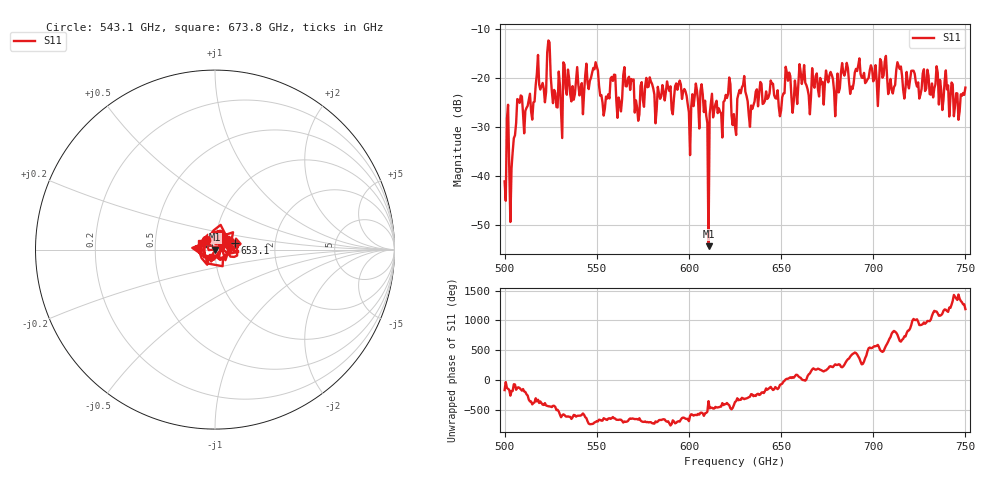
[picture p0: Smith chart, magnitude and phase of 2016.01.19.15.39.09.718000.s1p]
!Created with skrf (http://scikit-rf.org).
# GHz S RI R 50.0
!freq ReS11 ImS11
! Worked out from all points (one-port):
!   401 points, 500 GHz to 750 GHz, reference 50 ohm
!   lowest |S11| = -54.3 dB at 610.6 GHz (marker M1), VSWR 1.00, Z = 50.2 + j0.0104 ohm
!   |S11| at or under -10 dB: start of sweep to end of sweep
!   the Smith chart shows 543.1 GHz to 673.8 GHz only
!   S11 on the Smith chart (normalised r, x): 543.1 GHz: 0.90, +0.09; 653.1 GHz: 1.24, +0.09; 673.8 GHz: 0.85, +0.06
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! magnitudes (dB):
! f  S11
! 500 GHz  -41.1
! 503.8 GHz  -38.4
! 508.1 GHz  -25.0
! 523.8 GHz  -12.3
! 527.5 GHz  -23.0
! 531.2 GHz  -32.2
! 543.1 GHz  -23.0
! 549.4 GHz  -16.7
! 553.1 GHz  -24.9
! 558.8 GHz  -20.5
! 562.5 GHz  -24.9
! 565.6 GHz  -21.6
! 571.9 GHz  -25.9
! 593.8 GHz  -22.3
! 600 GHz  -26.9
! 607.5 GHz  -23.3
! 610.6 GHz  -54.3
! 612.5 GHz  -23.2
! 621.2 GHz  -23.2
! 625 GHz  -29.9
! 628.8 GHz  -21.8
! 633.8 GHz  -25.6
! 653.1 GHz  -18.8
! 656.2 GHz  -27.0
! 673.8 GHz  -21.2
! 687.5 GHz  -23.2
! 718.8 GHz  -21.0
! 750 GHz  -21.9
